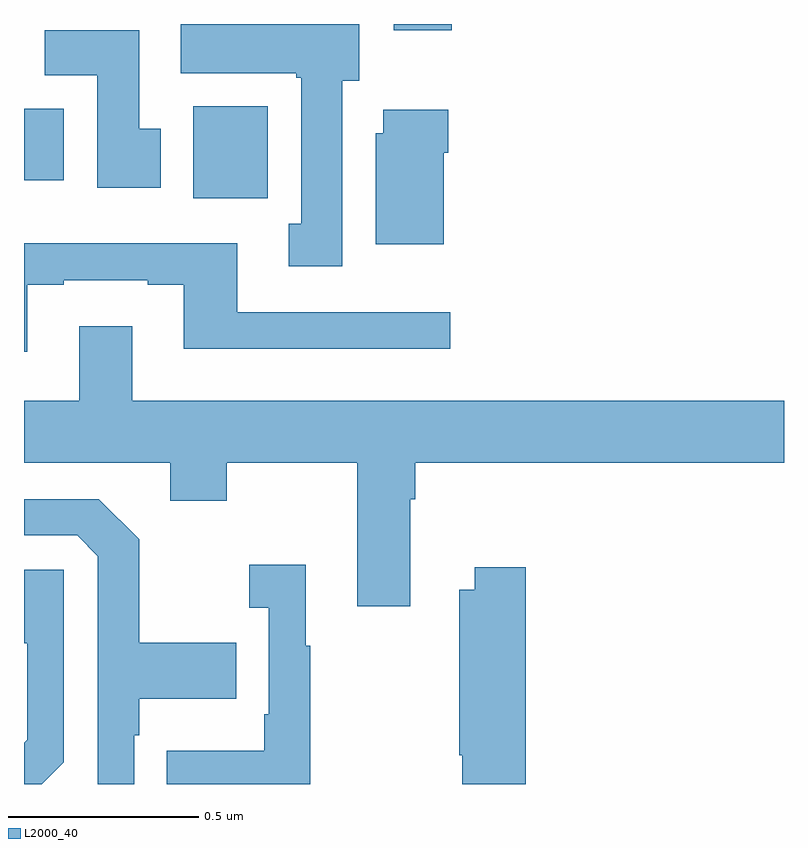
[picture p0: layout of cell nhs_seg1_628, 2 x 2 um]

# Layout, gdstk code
import gdstk
lib = gdstk.Library(unit=1e-6, precision=1e-09)
def R(c, l, rs):  # rectangles x0, y0, x1, y1
    for r in rs: c.add(gdstk.rectangle(r[:2], r[2:], *l))
def P(c, l, *ps):  # polygons
    for p in ps: c.add(gdstk.Polygon(p, *l))
L2000_40 = (2000, 40)

nhs_seg1_628 = lib.new_cell('nhs_seg1_628')
R(nhs_seg1_628, L2000_40, [(118.445,573.74,118.642,573.982), (118,573.788,118.105,573.976), (118.973,574.182,119.126,574.199)])
P(nhs_seg1_628, L2000_40, [(118.837,574.05),(118.882,574.05),(118.882,574.199),(118.413,574.199),(118.413,574.07),(118.717,574.07),(118.717,574.057),(118.73,574.057),(118.73,573.674),(118.697,573.674),(118.697,573.561),(118.837,573.561)],
  [(118.36,573.924),(118.303,573.924),(118.303,574.183),(118.054,574.183),(118.054,574.064),(118.193,574.064),(118.193,573.768),(118.36,573.768)],
  [(119.104,573.86),(119.117,573.86),(119.117,573.973),(118.946,573.973),(118.946,573.912),(118.925,573.912),(118.925,573.62),(119.104,573.62)],
  [(118.009,573.513),(118.105,573.513),(118.105,573.525),(118.325,573.525),(118.325,573.513),(118.421,573.513),(118.421,573.344),(119.122,573.344),(119.122,573.441),(118.561,573.441),(118.561,573.622),(118,573.622),(118,573.336),(118.009,573.336)],
  [(119.017,572.948),(119.03,572.948),(119.03,573.044),(120,573.044),(120,573.208),(118.285,573.208),(118.285,573.403),(118.145,573.403),(118.145,573.208),(118,573.208),(118,573.044),(118.385,573.044),(118.385,572.945),(118.533,572.945),(118.533,573.044),(118.877,573.044),(118.877,572.667),(119.017,572.667)],
  [(118.29,572.327),(118.303,572.327),(118.303,572.423),(118.559,572.423),(118.559,572.571),(118.303,572.571),(118.303,572.843),(118.197,572.949),(118,572.949),(118,572.853),(118.14,572.853),(118.194,572.799),(118.194,572.199),(118.29,572.199)],
  [(118.753,572.563),(118.741,572.563),(118.741,572.776),(118.593,572.776),(118.593,572.663),(118.644,572.663),(118.644,572.383),(118.632,572.383),(118.632,572.287),(118.375,572.287),(118.375,572.199),(118.753,572.199)],
  [(119.321,572.77),(119.186,572.77),(119.186,572.71),(119.146,572.71),(119.146,572.275),(119.153,572.275),(119.153,572.199),(119.321,572.199)],
  [(118.104,572.256),(118.104,572.763),(118,572.763),(118,572.57),(118.008,572.57),(118.008,572.316),(118,572.308),(118,572.199),(118.047,572.199)])

lib.write_gds('nhs_seg1_628.gds')
